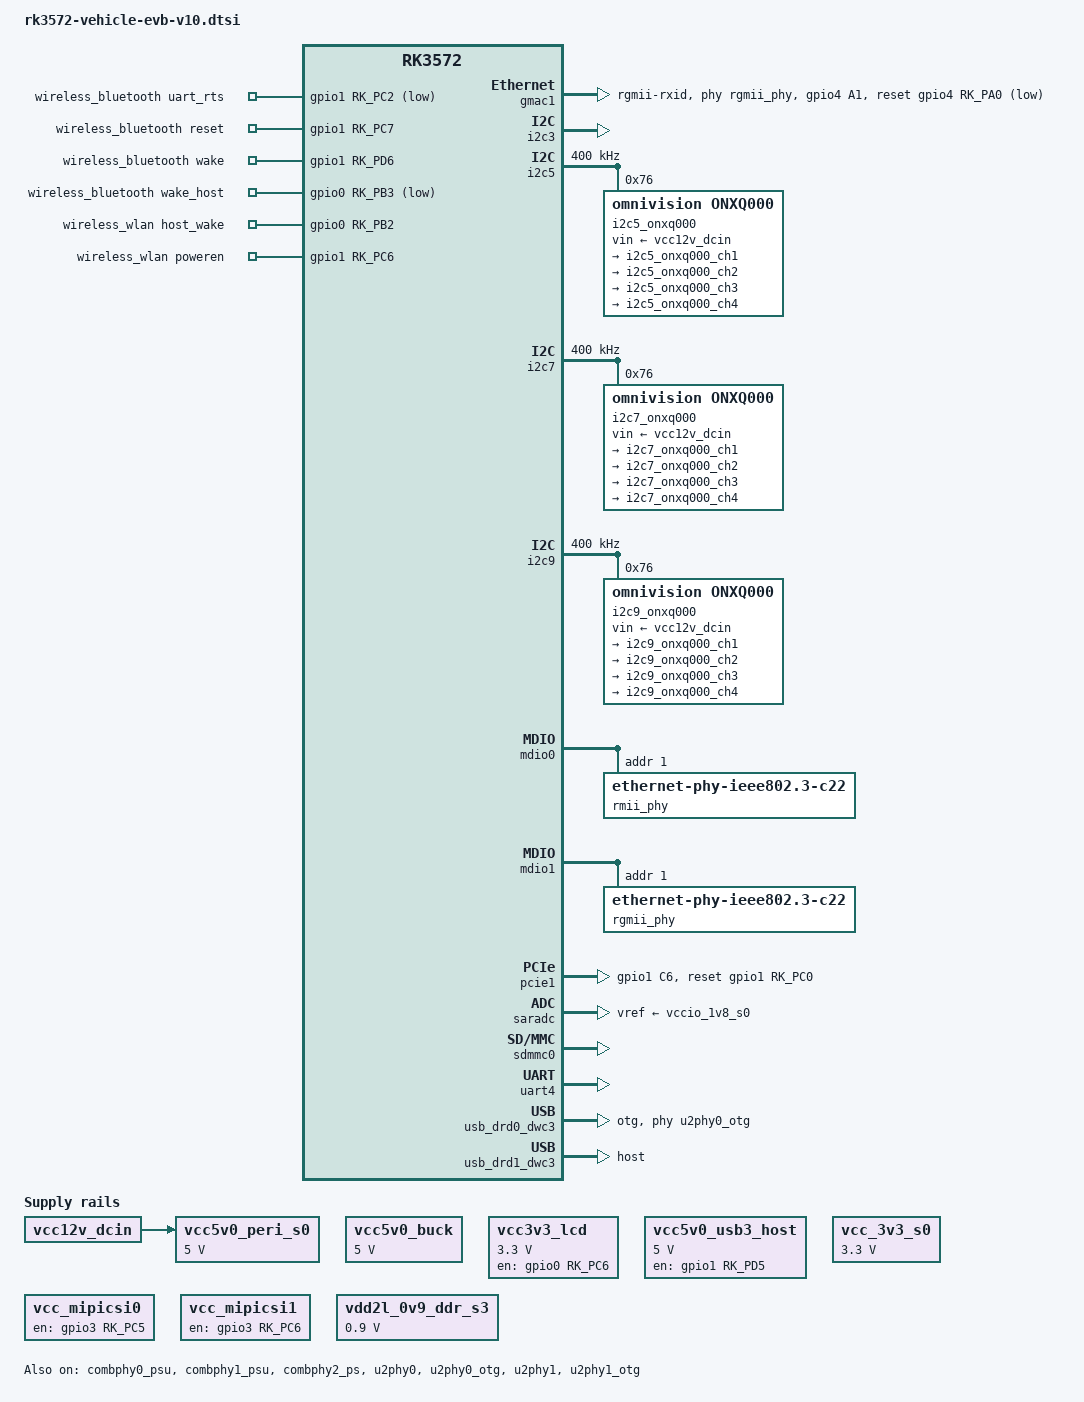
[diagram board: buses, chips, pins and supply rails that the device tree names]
// SPDX-License-Identifier: (GPL-2.0+ OR MIT)
/*
 * Copyright (c) 2026 Rockchip Electronics Co., Ltd.
 *
 */

#include "rk3572-vehicle.dtsi"
#include "rk3572-vehicle-evb-audio.dtsi"
#include "rk3572-rk806.dtsi"

/ {
	fan {
		compatible = "pwm-fan";
		pwms = <&pwm2_8ch_2 0 40000 0>;
		cooling-levels = <0 80 170 255>;
		status = "disabled";
	};

	vcc5v0_buck: vcc5v0-buck {
		compatible = "regulator-fixed";
		regulator-name = "vcc5v0_buck";
		regulator-boot-on;
		regulator-always-on;
		regulator-min-microvolt = <5000000>;
		regulator-max-microvolt = <5000000>;
		//enable-active-high;
		//gpio = <&gpio0 RK_PB6 GPIO_ACTIVE_HIGH>;
		//vin-supply = <&vcc12v_dcin>;
		//pinctrl-names = "default";
		//pinctrl-0 = <&vcc5v0_buck_en>;
		startup-delay-us = <2500>;
		off-on-delay-us = <1500>;
		regulator-state-mem {
			regulator-on-in-suspend;
			regulator-suspend-microvolt = <5000000>;
		};
	};

	vcc5v0_peri_s0: vcc5v0-peri-s0 {
		compatible = "regulator-fixed";
		regulator-name = "vcc5v0_peri_s0";
		regulator-boot-on;
		regulator-always-on;
		regulator-min-microvolt = <5000000>;
		regulator-max-microvolt = <5000000>;
		vin-supply = <&vcc12v_dcin>;
	};

#if 0
	vcc5v0_otg_usb20: vcc5v0-otg-usb20 {
		compatible = "regulator-fixed";
		regulator-name = "vcc5v0_otg_usb20";
		regulator-boot-on;
		regulator-always-on;
		regulator-min-microvolt = <5000000>;
		regulator-max-microvolt = <5000000>;
		//enable-active-high;
		gpio = <&gpio3 RK_PC5 GPIO_ACTIVE_HIGH>;
		pinctrl-names = "default";
		pinctrl-0 = <&usb_otg0_pwren>;
		startup-delay-us = <2000>;
		off-on-delay-us = <16000>;
		vin-supply = <&vcc5v0_buck>;
	};
#endif
	vcc3v3_lcd: vcc3v3-lcd {
		compatible = "regulator-fixed";
		regulator-name = "vcc3v3_lcd";
		regulator-boot-on;
		enable-active-high;
		regulator-min-microvolt = <3300000>;
		regulator-max-microvolt = <3300000>;
		gpio = <&gpio0 RK_PC6 GPIO_ACTIVE_HIGH>;
	};

	vcc5v0_usb3_host: vcc5v0-usb3-host {
		compatible = "regulator-fixed";
		regulator-name = "vcc5v0_usb3_host";
		regulator-boot-on;
		regulator-always-on;
		regulator-min-microvolt = <5000000>;
		regulator-max-microvolt = <5000000>;
		enable-active-high;
		gpio = <&gpio1 RK_PD5 GPIO_ACTIVE_HIGH>;
		pinctrl-names = "default";
		pinctrl-0 = <&usb_drd1_pwren>;
	};

	vcc_3v3_s0: vcc-3v3-s0 {
		compatible = "regulator-fixed";
		regulator-name = "vcc_3v3_s0";
		regulator-boot-on;
		regulator-always-on;
		regulator-min-microvolt = <3300000>;
		regulator-max-microvolt = <3300000>;
	};

	vcc_mipicsi0: vcc-mipicsi0-regulator {
		compatible = "regulator-fixed";
		gpio = <&gpio3 RK_PC5 GPIO_ACTIVE_HIGH>;
		pinctrl-names = "default";
		pinctrl-0 = <&mipicsi0_pwr>;
		regulator-name = "vcc_mipicsi0";
		enable-active-high;
	};

	vcc_mipicsi1: vcc-mipicsi1-regulator {
		compatible = "regulator-fixed";
		gpio = <&gpio3 RK_PC6 GPIO_ACTIVE_HIGH>;
		pinctrl-names = "default";
		pinctrl-0 = <&mipicsi1_pwr>;
		regulator-name = "vcc_mipicsi1";
		enable-active-high;
	};

	vdd2l_0v9_ddr_s3: vdd2l-0v9-ddr-s3 {
		compatible = "regulator-fixed";
		regulator-name = "vdd2l_0v9_ddr_s3";
		regulator-boot-on;
		regulator-always-on;
		regulator-min-microvolt = <900000>;
		regulator-max-microvolt = <900000>;
	};

	wireless_bluetooth: wireless-bluetooth {
		compatible = "bluetooth-platdata";
		bt_port = "/dev/ttyS4";
		uart_rts-gpios = <&gpio1 RK_PC2 GPIO_ACTIVE_LOW>;
		pinctrl-names = "default", "rts_gpio";
		pinctrl-0 = <&uart4m1_rtsn_pins>, <&bt_irq_gpio>;
		pinctrl-1 = <&uart4_gpios>;
		BT,reset-gpios    = <&gpio1 RK_PC7 GPIO_ACTIVE_HIGH>;
		BT,wake-gpios     = <&gpio1 RK_PD6 GPIO_ACTIVE_HIGH>;
		BT,wake_host-gpios = <&gpio0 RK_PB3 GPIO_ACTIVE_LOW>;
		status = "okay";
	};

	wireless_wlan: wireless-wlan {
		compatible = "wlan-platdata";
		wifi_chip_type = "ap6275p";
		pinctrl-names = "default";
		pinctrl-0 = <&wifi_host_wake_irq>;
		WIFI,host_wake-gpios = <&gpio0 RK_PB2 GPIO_ACTIVE_HIGH>;
		WIFI,poweren-gpios = <&gpio1 RK_PC6 GPIO_ACTIVE_HIGH>;
		status = "okay";
	};
};

&combphy0_psu {
	status = "okay";
};

&combphy1_psu {
	status = "okay";
};

&combphy2_ps {
	status = "okay";
};

&gmac1 {
	/* Use rgmii-rxid mode to disable rx delay inside Soc */
	phy-mode = "rgmii-rxid";
	clock_in_out = "output";

	snps,reset-gpio = <&gpio4 RK_PA0 GPIO_ACTIVE_LOW>;
	snps,reset-active-low;
	/* Reset time is 20ms, 100ms for rtl8211f */
	snps,reset-delays-us = <0 20000 100000>;

	pinctrl-names = "default";
	pinctrl-0 = <&eth1m0_miim_pins
		     &eth1m0_tx_bus2_pins
		     &eth1m0_rx_bus2_pins
		     &eth1m0_rgmii_clk_pins
		     &eth1m0_rgmii_bus_pins
		     &ethm0_clk1_25m_out_pins
		     &phydisb>;

	tx_delay = <0x20>;
	/* rx_delay = <0x3f>; */

	phy-handle = <&rgmii_phy>;
	status = "okay";
};

&hdmi {
	status = "disabled";
	rockchip,sda-falling-delay-ns = <360>;
	pinctrl-names = "default";
	pinctrl-0 = <&hdmi_txm0_cec_pins &hdmi_txm0_ddc_pins &hdmi_txm1_hpdin_pins>;
};

&hdmi_in_vp0 {
	status = "disabled";
};

&hdptxphy {
	status = "disabled";
};

&i2c1 {
#if 0
	s35390a: s35390a@30 {
		compatible = "sii,s35390a";
		reg = <0x30>;
		pinctrl-names = "default";
		pinctrl-0 = <&s35390a_int>;
		interrupt-parent = <&gpio0>;
		interrupts = <RK_PA0 IRQ_TYPE_LEVEL_LOW>;
		wakeup-source;
	};
#endif
};

&i2c3 {
	status = "okay";
};

&i2c5 {
	status = "okay";
	pinctrl-names = "default";
	pinctrl-0 = <&i2c5m0_xfer_pins>;
	clock-frequency = <400000>;

	i2c5_onxq000: onxq000-regulator@76 {
		compatible = "omnivision,onxq000";
		status = "okay";
		reg = <0x76>;
		vin-supply = <&vcc12v_dcin>;

		regulators {
			i2c5_onxq000_ch1: out1 {
				regulator-name = "i2c5_onxq000_ch1";
			};

			i2c5_onxq000_ch2: out2 {
				regulator-name = "i2c5_onxq000_ch2";
			};

			i2c5_onxq000_ch3: out3 {
				regulator-name = "i2c5_onxq000_ch3";
			};

			i2c5_onxq000_ch4: out4 {
				regulator-name = "i2c5_onxq000_ch4";
			};
		};
	};

};

&i2c7 {
	status = "okay";
	clock-frequency = <400000>;
	pinctrl-names = "default";
	pinctrl-0 = <&i2c7m1_xfer_pins>;

	icm42607_acc: icm_acc@68 {
		status = "disabled";
		compatible = "icm42607_acc";
		reg = <0x68>;
		irq-gpio = <&gpio1 RK_PD5 IRQ_TYPE_EDGE_RISING>;
		irq_enable = <0>;
		poll_delay_ms = <30>;
		type = <SENSOR_TYPE_ACCEL>;
		layout = <4>;
	};

	icm42607_gyro: icm_gyro@68 {
		status = "disabled";
		compatible = "icm42607_gyro";
		reg = <0x68>;
		poll_delay_ms = <30>;
		type = <SENSOR_TYPE_GYROSCOPE>;
		layout = <4>;
	};

	i2c7_onxq000: onxq000-regulator@76 {
		compatible = "omnivision,onxq000";
		status = "okay";
		reg = <0x76>;
		vin-supply = <&vcc12v_dcin>;

		regulators {
			i2c7_onxq000_ch1: out1 {
				regulator-name = "i2c7_onxq000_ch1";
			};

			i2c7_onxq000_ch2: out2 {
				regulator-name = "i2c7_onxq000_ch2";
			};

			i2c7_onxq000_ch3: out3 {
				regulator-name = "i2c7_onxq000_ch3";
			};

			i2c7_onxq000_ch4: out4 {
				regulator-name = "i2c7_onxq000_ch4";
			};
		};
	};
};

&i2c9 {
	status = "okay";
	pinctrl-names = "default";
	pinctrl-0 = <&i2c9m2_xfer_pins>;
	clock-frequency = <400000>;

	i2c9_onxq000: onxq000-regulator@76 {
		compatible = "omnivision,onxq000";
		status = "okay";
		reg = <0x76>;
		vin-supply = <&vcc12v_dcin>;

		regulators {
			i2c9_onxq000_ch1: out1 {
				regulator-name = "i2c9_onxq000_ch1";
			};

			i2c9_onxq000_ch2: out2 {
				regulator-name = "i2c9_onxq000_ch2";
			};

			i2c9_onxq000_ch3: out3 {
				regulator-name = "i2c9_onxq000_ch3";
			};

			i2c9_onxq000_ch4: out4 {
				regulator-name = "i2c9_onxq000_ch4";
			};
		};
	};

};

&mdio0 {
	rmii_phy: phy@1 {
		compatible = "ethernet-phy-ieee802.3-c22";
		reg = <0x1>;
		clocks = <&cru REFCLKO25M_GMAC0_OUT>;
	};
};

&mdio1 {
	rgmii_phy: phy@1 {
		compatible = "ethernet-phy-ieee802.3-c22";
		reg = <0x1>;
		clocks = <&cru REFCLKO25M_GMAC1_OUT>;
	};
};

&pcie0 {
	phys = <&combphy1_psu PHY_TYPE_PCIE>;
	reset-gpios = <&gpio4 RK_PB7 GPIO_ACTIVE_HIGH>;

	/*
	 * Disable usb_drd1_dwc3 if enabling pcie0 and set U1800 and
	 * U1801 to high state according to the schematic of page 18.
	 */
	status = "disabled";
};

&pcie1 {
	reset-gpios = <&gpio1 RK_PC0 GPIO_ACTIVE_HIGH>;
	rockchip,skip-scan-in-resume;
	pinctrl-names = "default";
	pinctrl-0 = <&wifi_poweren_gpio>;

	/*
	 * Solder R1851 and R1860 registers to make this slot
	 * work according to the schematic of page 17.
	 */
	status = "okay";
};

&pinctrl {
	audio-amplifier {
		spk_con_h: spk-con-h {
			rockchip,pins = <0 RK_PC7 RK_FUNC_GPIO &pcfg_pull_none>;
		};
	};

	cam {
		mipicsi0_pwr: mipicsi0-pwr {
			rockchip,pins =
				/* camera power en */
				<3 RK_PC5 RK_FUNC_GPIO &pcfg_pull_none>;
		};

		mipicsi1_pwr: mipicsi1-pwr {
			rockchip,pins =
				/* camera power en */
				<3 RK_PC6 RK_FUNC_GPIO &pcfg_pull_none>;
		};
	};

	gmac1 {
		phydisb: phydisb {
			rockchip,pins = <4 RK_PA1 RK_FUNC_GPIO &pcfg_output_high>;
		};
	};

	headphone-jack {
		hp_con_h: hp-con-h {
			rockchip,pins = <2 RK_PB4 RK_FUNC_GPIO &pcfg_pull_none>;
		};

		hp_det_l: hp-det-l {
			rockchip,pins = <0 RK_PD1 RK_FUNC_GPIO &pcfg_pull_up>;
		};
	};

	touch {
		ts_int_active: ts_int_active {
			rockchip,pins = <0 RK_PC5 RK_FUNC_GPIO &pcfg_pull_up>;
		};

		ts_reset_active: ts_reset_active {
			rockchip,pins = <0 RK_PD0 RK_FUNC_GPIO &pcfg_pull_up>;
		};

		ts_int_suspend: ts_int_suspend {
			rockchip,pins = <0 RK_PC5 RK_FUNC_GPIO &pcfg_pull_down>;
		};

		ts_reset_suspend: ts_reset_suspend {
			rockchip,pins = <0 RK_PD0 RK_FUNC_GPIO &pcfg_pull_down>;
		};
	};

	usb {
		usb3_switch_default: usb3-switch-default {
			rockchip,pins = <1 RK_PD4 RK_FUNC_GPIO &pcfg_pull_none>;
		};

		usb_drd0_pwren: usb-drd0-pwren {
			rockchip,pins = <0 RK_PC2 RK_FUNC_GPIO &pcfg_pull_none>;
		};

		usb_drd1_pwren: usb-drd1-pwren {
			rockchip,pins = <1 RK_PD5 RK_FUNC_GPIO &pcfg_pull_none>;
		};

		usbc0_int: usbc0-int {
			rockchip,pins = <0 RK_PA5 RK_FUNC_GPIO &pcfg_pull_up>;
		};

		usb_host3_pwren: usb-host3-pwren {
			rockchip,pins = <0 RK_PC0 RK_FUNC_GPIO &pcfg_pull_none>;
		};

		usb_otg0_pwren: usb-otg0-pwren {
			rockchip,pins = <3 RK_PC5 RK_FUNC_GPIO &pcfg_pull_none>;
		};
	};

	wireless-bluetooth {
		uart4_gpios: uart4-gpios {
			rockchip,pins = <1 RK_PC2 RK_FUNC_GPIO &pcfg_pull_none>;
		};

		bt_irq_gpio: bt-irq-gpio {
			rockchip,pins = <0 RK_PB3 RK_FUNC_GPIO &pcfg_pull_up>;
		};
	};

	wireless-wlan {
		wifi_host_wake_irq: wifi-host-wake-irq {
			rockchip,pins = <0 RK_PB2 RK_FUNC_GPIO &pcfg_pull_down>;
		};

		wifi_poweren_gpio: wifi-poweren-gpio {
			rockchip,pins = <1 RK_PC6 RK_FUNC_GPIO &pcfg_pull_up>;
		};
	};
};

&pwm2_8ch_2 {
	pinctrl-0 = <&pwm2m2_ch2_pins>;
	status = "disabled";
};

&route_hdmi {
	status = "disabled";
	connect = <&vp0_out_hdmi>;
};

&saradc {
	status = "okay";
	vref-supply = <&vccio_1v8_s0>;
};

&sdmmc0 {
	status = "okay";
};

&uart4 {
	status = "okay";
};

&u2phy0 {
	orientation-switch;
	status = "okay";
};

&u2phy0_otg {
	//rockchip,typec-vbus-det;
	rockchip,sel-pipe-phystatus;
	rockchip,dis-u2-susphy;
	status = "okay";
};

&u2phy1 {
	status = "okay";
};

&u2phy1_otg {
	status = "okay";
};

&usb_drd0_dwc3 {
	phys = <&u2phy0_otg>;
	phy-names = "usb2-phy";
	maximum-speed = "high-speed";
	extcon = <&u2phy0>;
	snps,dis_u2_susphy_quirk;
	snps,usb2-lpm-disable;
	dr_mode = "otg";
	status = "okay";
};

&usb_drd1_dwc3 {
	dr_mode = "host";
	status = "okay";
};
